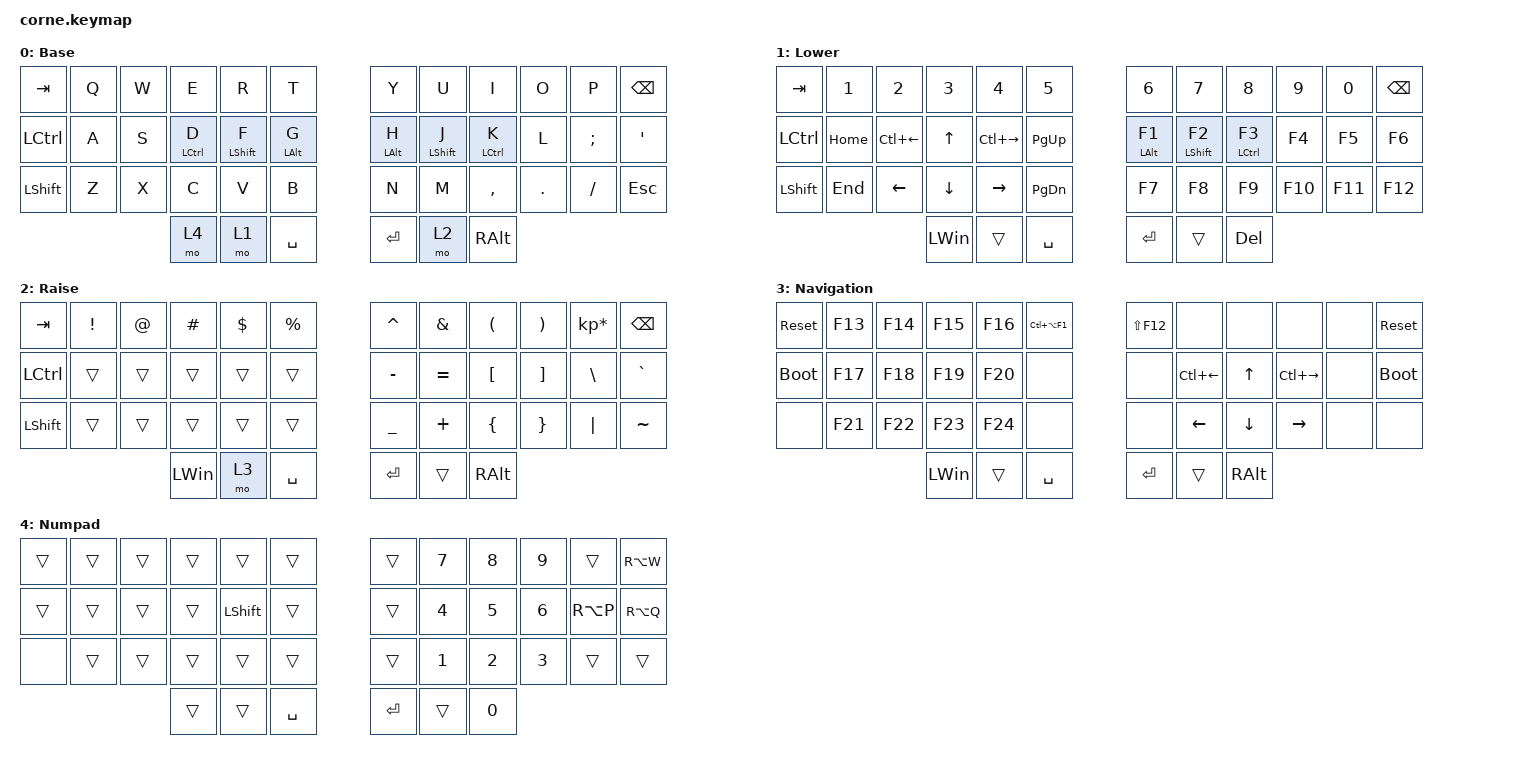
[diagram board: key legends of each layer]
/*
 * Copyright (c) 2020 The ZMK Contributors
 *
 * SPDX-License-Identifier: MIT
 */

#include <behaviors.dtsi>
#include <dt-bindings/zmk/keys.h>

/ {
    behaviors {
        hml: home_row_mod_left {
            compatible = "zmk,behavior-hold-tap";
            #binding-cells = <2>;
            flavor = "balanced";
            require-prior-idle-ms = <75>;
            tapping-term-ms = <280>;
            quick-tap-ms = <175>;
            bindings = <&kp>, <&kp>;

            hold-trigger-key-positions = <6 7 8 9 10 11 18 19 20 21 22 23 30 31 32 33 34 35 40 41 39>; // List of keys on the right side of the keyboard
            hold-trigger-on-release;
        };

        hmr: home_row_mod_right {
            compatible = "zmk,behavior-hold-tap";
            #binding-cells = <2>;
            flavor = "balanced";
            require-prior-idle-ms = <75>;
            tapping-term-ms = <280>;
            quick-tap-ms = <175>;
            bindings = <&kp>, <&kp>;

            hold-trigger-key-positions = <0 1 2 3 4 5 12 13 14 15 16 17 24 25 26 27 28 29 36 37 38>; // List of keys on the left side of the keyboard
            hold-trigger-on-release;
        };
    };

    keymap {
        compatible = "zmk,keymap";

        default_layer {
            // -----------------------------------------------------------------------------------------
            // |  TAB |  Q  |  W  |  E  |  R  |  T  |   |  Y  |  U   |  I  |  O  |  P  | BKSP |
            // | CTRL |  A  |  S  |  D  |  F  |  G  |   |  H  |  J   |  K  |  L  |  ;  |  '   |
            // | SHFT |  Z  |  X  |  C  |  V  |  B  |   |  N  |  M   |  ,  |  .  |  /  | ESC  |
            //                    | GUI | LWR | SPC |   | ENT | RSE  | ALT |

            display-name = "Base";
            bindings = <
&kp TAB    &kp Q  &kp W  &kp E                &kp R          &kp T              &kp Y            &kp U         &kp I                &kp O    &kp P     &kp BSPC
&kp LCTRL  &kp A  &kp S  &hml LEFT_CONTROL D  &hml LSHIFT F  &hml LEFT_ALT G    &hmr LEFT_ALT H  &hmr LSHFT J  &hmr LEFT_CONTROL K  &kp L    &kp SEMI  &kp SQT
&kp LSHFT  &kp Z  &kp X  &kp C                &kp V          &kp B              &kp N            &kp M         &kp COMMA            &kp DOT  &kp FSLH  &kp ESC
                         &mo 4                &mo 1          &kp SPACE          &kp RET          &mo 2         &kp RALT
            >;
        };

        lower_layer {
            // -----------------------------------------------------------------------------------------
            // |  TAB |  1  |  2  |  3  |  4  |  5  |   |  6  |  7  |  8  |  9  |  0  | BKSP |
            // | BTCLR| BT1 | BT2 | BT3 | BT4 | BT5 |   | LFT | DWN |  UP | RGT |     |      |
            // | SHFT |     |     |     |     |     |   |     |     |     |     |     |      |
            //                    | GUI |     | SPC |   | ENT |     | ALT |

            display-name = "Lower";
            bindings = <
&kp TAB    &kp N1    &kp N2        &kp N3        &kp N4         &kp N5           &kp N6            &kp N7              &kp N8                &kp N9   &kp N0   &kp BSPC
&kp LCTRL  &kp HOME  &kp LC(LEFT)  &kp UP        &kp LC(RIGHT)  &kp PAGE_UP      &hmr LEFT_ALT F1  &hmr LEFT_SHIFT F2  &hmr LEFT_CONTROL F3  &kp F4   &kp F5   &kp F6
&kp LSHFT  &kp END   &kp LEFT      &kp DOWN      &kp RIGHT      &kp PAGE_DOWN    &kp F7            &kp F8              &kp F9                &kp F10  &kp F11  &kp F12
                                   &kp LEFT_WIN  &trans         &kp SPACE        &kp RET           &trans              &kp DELETE
            >;
        };

        raise_layer {
            // -----------------------------------------------------------------------------------------
            // |  TAB |  !  |  @  |  #  |  $  |  %  |   |  ^  |  &  |  *  |  (  |  )  | BKSP |
            // | CTRL |     |     |     |     |     |   |  -  |  =  |  [  |  ]  |  \  |  `   |
            // | SHFT |     |     |     |     |     |   |  _  |  +  |  {  |  }  | "|" |  ~   |
            //                    | GUI |     | SPC |   | ENT |     | ALT |

            display-name = "Raise";
            bindings = <
&kp TAB    &kp EXCL  &kp AT  &kp HASH      &kp DLLR  &kp PRCNT    &kp CARET  &kp AMPS   &kp LEFT_PARENTHESIS  &kp RIGHT_PARENTHESIS  &kp KP_ASTERISK  &kp BSPC
&kp LCTRL  &trans    &trans  &trans        &trans    &trans       &kp MINUS  &kp EQUAL  &kp LBKT              &kp RBKT               &kp BSLH         &kp GRAVE
&kp LSHFT  &trans    &trans  &trans        &trans    &trans       &kp UNDER  &kp PLUS   &kp LBRC              &kp RBRC               &kp PIPE         &kp TILDE
                             &kp LEFT_WIN  &mo 3     &kp SPACE    &kp RET    &trans     &kp RALT
            >;
        };

        navigation_layer {
            display-name = "Navigation";
            bindings = <
&sys_reset   &kp F13  &kp F14  &kp F15       &kp F16  &kp LC(LA(F1))    &kp LS(F12)  &none         &none     &none          &none  &sys_reset
&bootloader  &kp F17  &kp F18  &kp F19       &kp F20  &none             &none        &kp LC(LEFT)  &kp UP    &kp LC(RIGHT)  &none  &bootloader
&none        &kp F21  &kp F22  &kp F23       &kp F24  &none             &none        &kp LEFT      &kp DOWN  &kp RIGHT      &none  &none
                               &kp LEFT_WIN  &trans   &kp SPACE         &kp RET      &trans        &kp RALT
            >;
        };

        numpad_layer {
            display-name = "Numpad";
            bindings = <
&trans  &trans  &trans  &trans  &trans          &trans       &trans     &kp N7  &kp N8  &kp N9  &trans     &kp RA(W)
&trans  &trans  &trans  &trans  &kp LEFT_SHIFT  &trans       &trans     &kp N4  &kp N5  &kp N6  &kp RA(P)  &kp RA(Q)
&none   &trans  &trans  &trans  &trans          &trans       &trans     &kp N1  &kp N2  &kp N3  &trans     &trans
                        &trans  &trans          &kp SPACE    &kp ENTER  &trans  &kp N0
            >;
        };
    };
};
